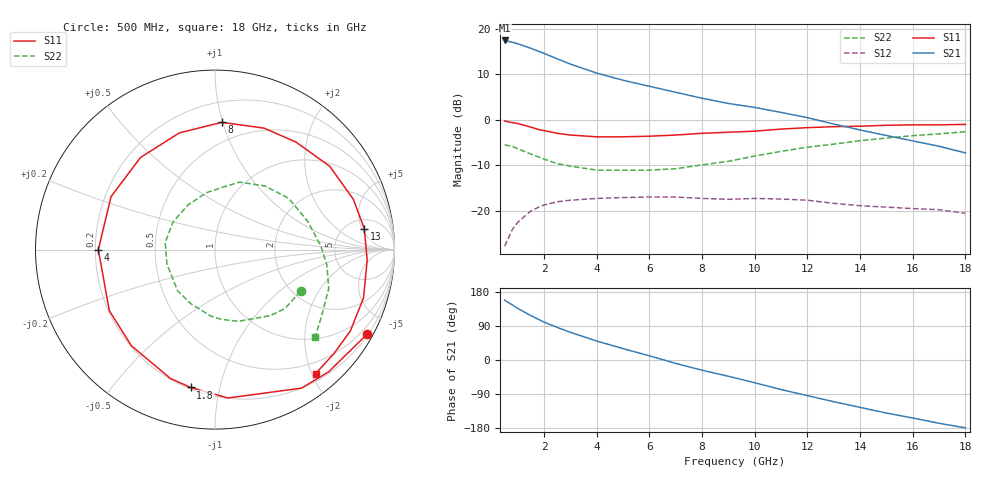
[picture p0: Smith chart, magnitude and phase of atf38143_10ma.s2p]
!ATF-38143
!S-PARAMETERS at Vds=2V  Id=10mA.  LAST UPDATED 20-10-99
# ghz s ma r 50
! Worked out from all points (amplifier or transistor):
!   23 points, 500 MHz to 18 GHz, reference 50 ohm
!   highest |S21| = 17.4 dB at 500 MHz (marker M1)
!   |S21| within 3 dB of that: start of sweep to 2.065 GHz
!   unconditionally stable (mu >= 1): 7.256 GHz to end of sweep
!   at 1.5 GHz: K = 0.27, MSG = 17.8 dB, |S12| = -20.0 dB
!   at 7 GHz: K = 0.97, MSG = 11.5 dB, |S12| = -17.0 dB
!   at 18 GHz: K = 1.55, MAG = 2.3 dB, |S12| = -20.5 dB
!   lowest NFmin = 0.18 dB at 500 MHz
!   S11 on the Smith chart (normalised r, x): 500 MHz: 0.24, -3.85; 1.8 GHz: 0.21, -0.82; 4 GHz: 0.21, +0.00; 8 GHz: 0.35, +0.99; 13 GHz: 7.02, +5.57; 18 GHz: 0.31, -2.06
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0.5  0.97 -29.0  7.423 158.0  0.041 72.0  0.53 -26.0
0.8  0.93 -47.0  7.081 145.0  0.063 61.0  0.51 -40.0
1  0.91 -58.0  6.834 136.0  0.075 55.0  0.48 -50.0
1.5  0.83 -85.0  6.086 117.0  0.1 40.0  0.42 -72.0
1.8  0.78 -100.0  5.634 107.0  0.11 33.0  0.39 -85.0
2  0.76 -109.0  5.35 100.0  0.116 28.0  0.37 -94.0
2.5  0.71 -131.0  4.665 86.0  0.126 18.0  0.33 -114.0
3  0.68 -150.0  4.083 73.0  0.131 9.0  0.31 -132.0
4  0.65 180.0  3.251 50.0  0.137 -5.0  0.28 -163.0
5  0.65 153.0  2.716 30.0  0.14 -18.0  0.28 172.0
6  0.66 129.0  2.33 11.0  0.142 -30.0  0.28 147.0
7  0.68 107.0  2.003 -9.0  0.142 -42.0  0.29 122.0
8  0.71 87.0  1.722 -27.0  0.137 -53.0  0.32 99.0
9  0.73 68.0  1.509 -43.0  0.134 -62.0  0.35 83.0
10  0.75 53.0  1.366 -60.0  0.137 -72.0  0.4 70.0
11  0.79 36.0  1.204 -78.0  0.135 -83.0  0.45 52.0
13  0.84 8.0  0.898 -110.0  0.121 -104.0  0.54 17.0
14  0.85 -4.0  0.773 -125.0  0.114 0.1  0.59 2.0
15  0.87 -18.0  0.672 -140.0  0.11 -122.0  0.63 -8.0
16  0.88 -31.0  0.587 -153.0  0.106 -131.0  0.67 -19.0
17  0.88 -41.0  0.512 -167.0  0.103 0.1  0.7 -32.0
18  0.89 -51.0  0.433 -179.0  0.094 -148.0  0.74 -41.0
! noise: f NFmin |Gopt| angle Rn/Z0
0.5  0.18  0.66  13  0.17
0.9  0.19  0.64  22  0.16
1.5  0.23  0.6  43  0.14
2  0.28  0.56  67  0.12
2.5  0.32  0.54  81  0.1
4  0.52  0.44  129  0.06
5.99  0.74  0.449  179  0.04
6  0.75  0.45  -165  0.04
8  0.95  0.51  -106  0.16
10  1.2  0.56  -65  0.46
